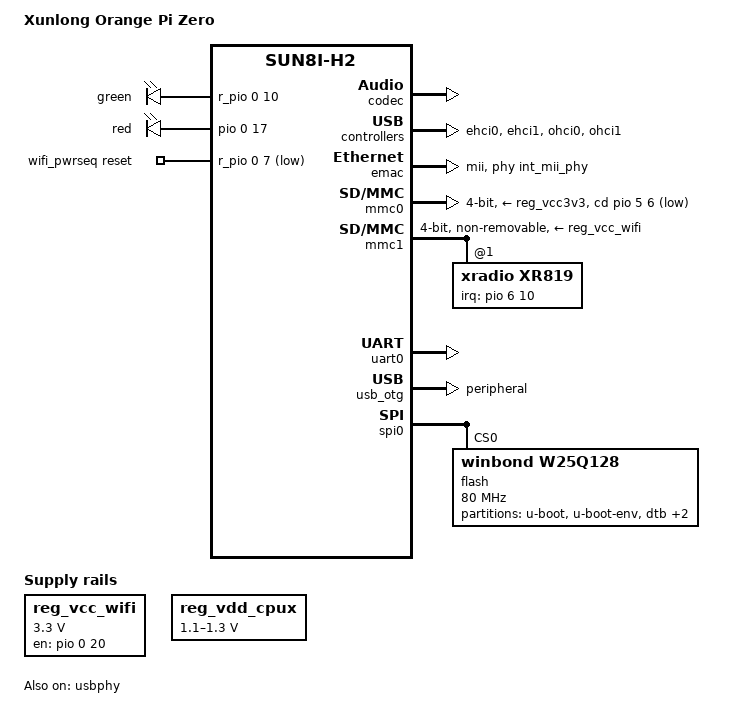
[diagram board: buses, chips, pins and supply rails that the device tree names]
/*
 * Copyright (C) 2016 Icenowy Zheng <icenowy@aosc.xyz>
 *
 * Based on sun8i-h2-plus-orangepi-zero.dts
 */

/dts-v1/;
#include "sun8i-h3.dtsi"
#include "sunxi-common-regulators.dtsi"

#include <dt-bindings/gpio/gpio.h>
#include <dt-bindings/input/input.h>

/ {
	model = "Xunlong Orange Pi Zero";
	compatible = "xunlong,orangepi-zero", "allwinner,sun8i-h2-plus";

	aliases {
		serial0 = &uart0;
		/* ethernet0 is the H3 emac, defined in sun8i-h3.dtsi */
		ethernet0 = &emac;
		ethernet1 = &xr819;
		spi1 = &spi1;
	};

	chosen {
		stdout-path = "serial0:115200n8";
	};

	leds {
		compatible = "gpio-leds";

		pwr_led {
			label = "green";
			gpios = <&r_pio 0 10 GPIO_ACTIVE_HIGH>;
			default-state = "on";
		};

		status_led {
			label = "red";
			gpios = <&pio 0 17 GPIO_ACTIVE_HIGH>;
			linux,default-trigger = "heartbeat";
		};
	};

	reg_vcc_wifi: reg_vcc_wifi {
		compatible = "regulator-fixed";
		regulator-min-microvolt = <3300000>;
		regulator-max-microvolt = <3300000>;
		regulator-name = "vcc-wifi";
		enable-active-high;
		gpio = <&pio 0 20 GPIO_ACTIVE_HIGH>;
	};

	reg_vdd_cpux: vdd-cpux-regulator {
		compatible = "regulator-gpio";
		regulator-name = "vdd-cpux";
		regulator-type = "voltage";
		regulator-boot-on;
		regulator-always-on;
		regulator-min-microvolt = <1100000>;
		regulator-max-microvolt = <1300000>;
		regulator-ramp-delay = <50>; /* 4ms */

		gpios = <&r_pio 0 6 GPIO_ACTIVE_HIGH>; /* PL6 */
		enable-active-high;
		gpios-states = <1>;
		states = <1100000 0>, <1300000 1>;
	};

	wifi_pwrseq: wifi_pwrseq {
		compatible = "mmc-pwrseq-simple";
		reset-gpios = <&r_pio 0 7 GPIO_ACTIVE_LOW>;
		post-power-on-delay-ms = <200>;
	};
};

&codec {
	allwinner,audio-routing =
		"Line Out", "LINEOUT",
		"MIC1", "Mic",
		"Mic",  "MBIAS";
	allwinner,pa-gpios = <&pio 0 10 GPIO_ACTIVE_HIGH>;
	status = "okay";
};

&cpu0 {
	cpu-supply = <&reg_vdd_cpux>;
};

&ehci0 {
	status = "okay";
};

&ehci1 {
	status = "okay";
};

&emac {
	phy-handle = <&int_mii_phy>;
	phy-mode = "mii";
	allwinner,leds-active-low;
	status = "okay";
};

&mmc0 {
	vmmc-supply = <&reg_vcc3v3>;
	bus-width = <4>;
	cd-gpios = <&pio 5 6 GPIO_ACTIVE_LOW>; /* PF6 */
	status = "okay";
};

&mmc1 {
	vmmc-supply = <&reg_vcc_wifi>;
	mmc-pwrseq = <&wifi_pwrseq>;
	bus-width = <4>;
	non-removable;
	status = "okay";

	/*
	 * Explicitly define the sdio device, so that we can add an ethernet
	 * alias for it (which e.g. makes u-boot set a mac-address).
	 */
	xr819: sdio_wifi@1 {
		reg = <1>;
		compatible = "xradio,xr819";
		interrupt-parent = <&pio>;
		interrupts = <6 10 IRQ_TYPE_EDGE_RISING>;
	};
};

&ohci0 {
	status = "okay";
};

&ohci1 {
	status = "okay";
};

&uart0 {
	pinctrl-names = "default";
	pinctrl-0 = <&uart0_pa_pins>;
	status = "okay";
};

&uart1 {
	pinctrl-names = "default";
	pinctrl-0 = <&uart1_pins>;
	status = "disabled";
};

&uart2 {
	pinctrl-names = "default";
	pinctrl-0 = <&uart2_pins>;
	status = "disabled";
};

&usb_otg {
	dr_mode = "peripheral";
	status = "okay";
};

&usbphy {
	/*
	 * USB Type-A port VBUS is always on. However, MicroUSB VBUS can only
	 * power up the board; when it's used as OTG port, this VBUS is
	 * always off even if the board is powered via GPIO pins.
	 */
	status = "okay";
	usb0_id_det-gpios = <&pio 6 12 GPIO_ACTIVE_HIGH>; /* PG12 */
};

&spi0 {
	status = "okay";

	flash@0 {
		#address-cells = <1>;
		#size-cells = <1>;
		compatible = "winbond,w25q128";
		reg = <0>;
		spi-max-frequency = <80000000>;

		partition@0 {
			label = "u-boot";
			reg = <0x0 0x80000>;
			read-only;
		};
		partition@80000 {
			label = "u-boot-env";
			reg = <0x80000 0x10000>;
		};
		partition@90000 {
			label = "dtb";
			reg = <0x90000 0x10000>;
		};
		partition@a0000 {
			label = "kernel";
			reg = <0xa0000 0x500000>;
		};
		partition@4a0000 {
			label = "rootfs";
			reg = <0x5a0000 0xA60000>;
		};
	};
};
